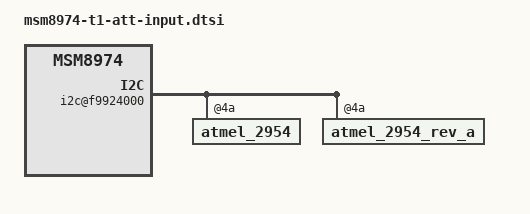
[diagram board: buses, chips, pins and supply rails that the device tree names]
/* Copyright (c) 2012, Code Aurora Forum. All rights reserved.
 *
 * This program is free software; you can redistribute it and/or modify
 * it under the terms of the GNU General Public License version 2 and
 * only version 2 as published by the Free Software Foundation.
 *
 * This program is distributed in the hope that it will be useful,
 * but WITHOUT ANY WARRANTY; without even the implied warranty of
 * MERCHANTABILITY or FITNESS FOR A PARTICULAR PURPOSE.  See the
 * GNU General Public License for more details.
 */

&soc {

	i2c@f9924000 {
		atmel_2954@4a {									/*touch ic I2C bus adddress*/
			status = "ok";
			atmel,fw_name = "atmel/t1lte_att_us/t1_1006v26.fw";
			};
		atmel_2954_rev_a@4a {
			status = "ok";
			atmel,fw_name = "atmel/t1lte_att_us/t1_1006v26.fw";
			};
	};

};
